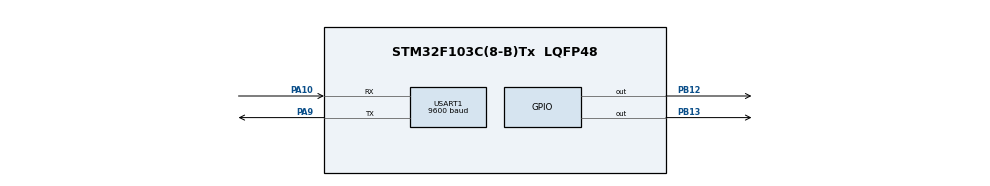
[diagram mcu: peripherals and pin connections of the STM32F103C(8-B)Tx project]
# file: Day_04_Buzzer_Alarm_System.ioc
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Mcu.Family=STM32F1
Mcu.Name=STM32F103C(8-B)Tx
Mcu.Package=LQFP48
NVIC.PriorityGroup=NVIC_PRIORITYGROUP_4
PA10.Mode=Asynchronous
PA10.Signal=USART1_RX
PA9.Mode=Asynchronous
PA9.Signal=USART1_TX
PB12.Signal=GPIO_Output
PB13.Signal=GPIO_Output
ProjectManager.HeapSize=0x200
ProjectManager.StackSize=0x400
ProjectManager.TargetToolchain=STM32CubeIDE
RCC.APB1Freq_Value=8000000
RCC.APB2Freq_Value=8000000
USART1.BaudRate=9600
USART1.VirtualMode=VM_ASYNC
VP_SYS_VS_ND.Mode=No_Debug
board=custom

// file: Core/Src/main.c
/* USER CODE BEGIN Header */
/**
  ******************************************************************************
  * @file           : main.c
  * @brief          : Smart Industrial Buzzer Alarm System
  ******************************************************************************
  */
/* USER CODE END Header */

#include "main.h"

#include <stdio.h>
#include <string.h>

UART_HandleTypeDef huart1;

/* USER CODE BEGIN PV */

char uart_buffer[100];

uint8_t alarm_state = 0;

/* USER CODE END PV */

void SystemClock_Config(void);

static void MX_GPIO_Init(void);

static void MX_USART1_UART_Init(void);

/* USER CODE BEGIN PFP */

void Activate_Alarm(void);

void Deactivate_Alarm(void);

void Send_UART_Message(char *message);

/* USER CODE END PFP */

int main(void)
{
  HAL_Init();

  SystemClock_Config();

  MX_GPIO_Init();

  MX_USART1_UART_Init();

  while (1)
  {
      Activate_Alarm();

      HAL_Delay(3000);

      Deactivate_Alarm();

      HAL_Delay(3000);
  }
}

void SystemClock_Config(void)
{
  RCC_OscInitTypeDef RCC_OscInitStruct = {0};

  RCC_ClkInitTypeDef RCC_ClkInitStruct = {0};

  RCC_OscInitStruct.OscillatorType = RCC_OSCILLATORTYPE_HSI;

  RCC_OscInitStruct.HSIState = RCC_HSI_ON;

  RCC_OscInitStruct.HSICalibrationValue = RCC_HSICALIBRATION_DEFAULT;

  RCC_OscInitStruct.PLL.PLLState = RCC_PLL_NONE;

  if (HAL_RCC_OscConfig(&RCC_OscInitStruct) != HAL_OK)
  {
    Error_Handler();
  }

  RCC_ClkInitStruct.ClockType = RCC_CLOCKTYPE_HCLK |
                                RCC_CLOCKTYPE_SYSCLK |
                                RCC_CLOCKTYPE_PCLK1 |
                                RCC_CLOCKTYPE_PCLK2;

  RCC_ClkInitStruct.SYSCLKSource = RCC_SYSCLKSOURCE_HSI;

  RCC_ClkInitStruct.AHBCLKDivider = RCC_SYSCLK_DIV1;

  RCC_ClkInitStruct.APB1CLKDivider = RCC_HCLK_DIV1;

  RCC_ClkInitStruct.APB2CLKDivider = RCC_HCLK_DIV1;

  if (HAL_RCC_ClockConfig(&RCC_ClkInitStruct,
                          FLASH_LATENCY_0) != HAL_OK)
  {
    Error_Handler();
  }
}

static void MX_USART1_UART_Init(void)
{
  huart1.Instance = USART1;

  huart1.Init.BaudRate = 9600;

  huart1.Init.WordLength = UART_WORDLENGTH_8B;

  huart1.Init.StopBits = UART_STOPBITS_1;

  huart1.Init.Parity = UART_PARITY_NONE;

  huart1.Init.Mode = UART_MODE_TX_RX;

  huart1.Init.HwFlowCtl = UART_HWCONTROL_NONE;

  huart1.Init.OverSampling = UART_OVERSAMPLING_16;

  if (HAL_UART_Init(&huart1) != HAL_OK)
  {
    Error_Handler();
  }
}

static void MX_GPIO_Init(void)
{
  GPIO_InitTypeDef GPIO_InitStruct = {0};

  __HAL_RCC_GPIOB_CLK_ENABLE();

  HAL_GPIO_WritePin(GPIOB,
                    GPIO_PIN_12 | GPIO_PIN_13,
                    GPIO_PIN_RESET);

  GPIO_InitStruct.Pin = GPIO_PIN_12 | GPIO_PIN_13;

  GPIO_InitStruct.Mode = GPIO_MODE_OUTPUT_PP;

  GPIO_InitStruct.Pull = GPIO_NOPULL;

  GPIO_InitStruct.Speed = GPIO_SPEED_FREQ_LOW;

  HAL_GPIO_Init(GPIOB, &GPIO_InitStruct);
}

/* USER CODE BEGIN 4 */

void Activate_Alarm(void)
{
    HAL_GPIO_WritePin(GPIOB,
                      GPIO_PIN_12,
                      GPIO_PIN_SET);

    HAL_GPIO_WritePin(GPIOB,
                      GPIO_PIN_13,
                      GPIO_PIN_SET);

    Send_UART_Message("ALARM ACTIVATED\r\n");
}

void Deactivate_Alarm(void)
{
    HAL_GPIO_WritePin(GPIOB,
                      GPIO_PIN_12,
                      GPIO_PIN_RESET);

    HAL_GPIO_WritePin(GPIOB,
                      GPIO_PIN_13,
                      GPIO_PIN_RESET);

    Send_UART_Message("SYSTEM NORMAL\r\n");
}

void Send_UART_Message(char *message)
{
    HAL_UART_Transmit(&huart1,
                      (uint8_t*)message,
                      strlen(message),
                      HAL_MAX_DELAY);
}

/* USER CODE END 4 */

void Error_Handler(void)
{
  __disable_irq();

  while (1)
  {
  }
}
